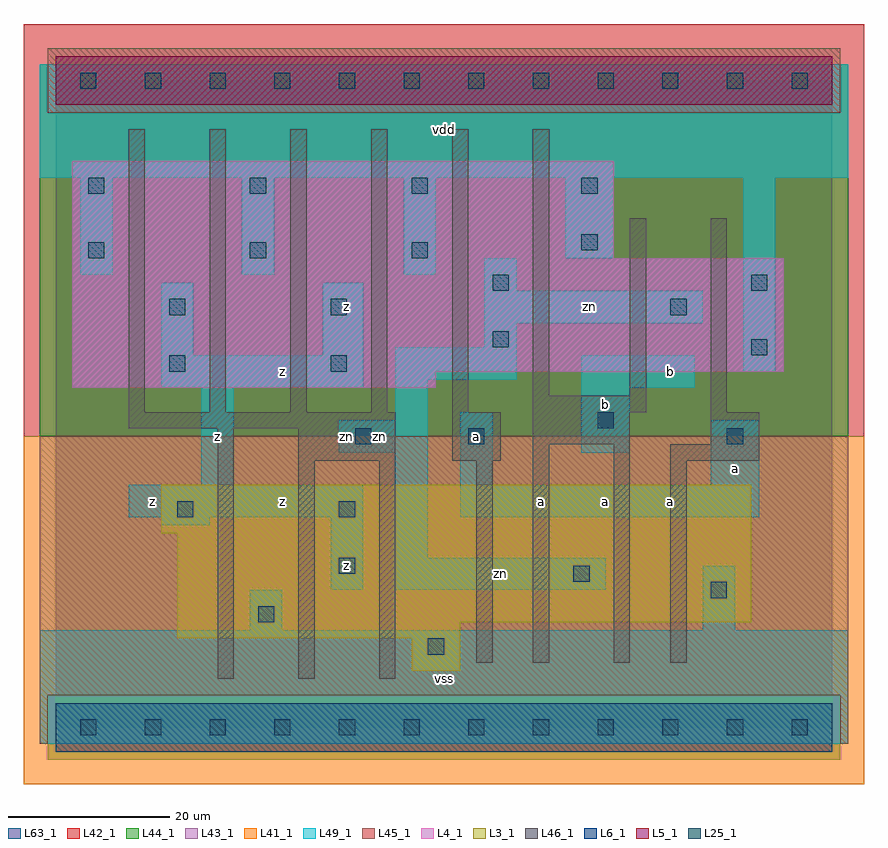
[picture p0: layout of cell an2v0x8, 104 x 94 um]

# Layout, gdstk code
import gdstk
lib = gdstk.Library(unit=1e-6, precision=1e-09)
def R(c, l, rs):  # rectangles x0, y0, x1, y1
    for r in rs: c.add(gdstk.rectangle(r[:2], r[2:], *l))
def A(c, l, x, y, w, h, nx, ny, dx, dy):  # array of equal rectangles
    R(c, l, [(x+i*dx, y+j*dy, x+i*dx+w, y+j*dy+h) for i in range(nx) for j in range(ny)])
L3_1 = (3, 1)
L4_1 = (4, 1)
L5_1 = (5, 1)
L6_1 = (6, 1)
L25_1 = (25, 1)
L41_1 = (41, 1)
L42_1 = (42, 1)
L43_1 = (43, 1)
L44_1 = (44, 1)
L45_1 = (45, 1)
L46_1 = (46, 1)
L49_1 = (49, 1)
L63_1 = (63, 1)

an2v0x8 = lib.new_cell('an2v0x8')
R(an2v0x8, L3_1, [(44,7,50,11), (15,11,50,13), (15,13,86,24), (13,24,86,30)])
R(an2v0x8, L4_1, [(2,42,47,44), (2,44,90,58), (2,58,69,70)])
R(an2v0x8, L5_1, [(0,77,96,83)])
R(an2v0x8, L6_1, [(0,-3,96,3), (0,-3,96,3)])
A(an2v0x8, L25_1, 3, -1, 2, 2, 12, 2, 8, 80)
A(an2v0x8, L25_1, 4, 58, 2, 2, 3, 2, 20, 8)
R(an2v0x8, L25_1, [(46,9,48,11), (25,13,27,15), (81,16,83,18), (64,18,66,20), (35,19,37,21), (15,26,17,28), (35,26,37,28), (37,35,39,37), (51,35,53,37), (83,35,85,37), (67,37,69,39), (14,44,16,46), (34,44,36,46), (86,46,88,48), (54,47,56,49), (14,51,16,53), (34,51,36,53), (76,51,78,53), (54,54,56,56), (86,54,88,56), (65,59,67,61), (65,66,67,68)])
R(an2v0x8, L41_1, [(-4,-7,100,36)])
R(an2v0x8, L42_1, [(-4,36,100,87)])
R(an2v0x8, L43_1, [(0,-3,96,3), (44,7,50,11), (15,11,50,13), (15,13,86,24), (13,24,86,30), (2,42,47,44), (2,44,90,58), (2,58,69,70), (0,77,96,83)])
R(an2v0x8, L44_1, [(-1,-4,97,4), (-2,36,98,76), (-2,76,-1,82), (97,76,98,82)])
R(an2v0x8, L45_1, [(-2,-2,-1,4), (97,-2,98,4), (-2,4,98,36), (-1,76,97,84)])
A(an2v0x8, L46_1, 9, 39, 2, 35, 5, 1, 10, 0)
R(an2v0x8, L46_1, [(20,6,22,37), (30,6,32,33), (40,6,42,33), (52,8,54,33), (59,8,61,35), (69,8,71,35), (76,8,78,33), (30,33,42,37), (49,33,55,39), (76,33,87,35), (59,35,71,39), (81,35,87,39), (9,37,42,39), (59,39,73,41), (81,39,83,63), (59,41,61,74), (71,41,73,63)])
A(an2v0x8, L49_1, 3, 56, 4, 12, 3, 1, 20, 0)
R(an2v0x8, L49_1, [(-2,-2,98,12), (24,12,28,17), (80,12,84,20), (34,17,38,26), (42,17,68,21), (42,21,46,34), (13,25,19,26), (9,26,38,30), (50,26,87,30), (18,30,22,42), (50,30,54,39), (81,30,87,38), (35,34,46,38), (65,34,71,42), (42,38,46,43), (13,42,38,46), (65,42,79,46), (42,43,57,47), (85,44,89,68), (13,46,17,55), (33,46,38,55), (53,47,57,50), (53,50,80,54), (53,54,57,58), (63,58,69,68), (-2,68,98,82)])
R(an2v0x8, L63_1, [(0,0,96,80)])
an2v0x8.add(gdstk.Label('zn', (36,36), layer=46, texttype=1))
an2v0x8.add(gdstk.Label('z', (12,28), layer=49, texttype=1))
an2v0x8.add(gdstk.Label('z', (28,28), layer=49, texttype=1))
an2v0x8.add(gdstk.Label('z', (20,36), layer=49, texttype=1))
an2v0x8.add(gdstk.Label('z', (28,44), layer=49, texttype=1))
an2v0x8.add(gdstk.Label('vss', (48,6), layer=49, texttype=1))
an2v0x8.add(gdstk.Label('z', (36,20), layer=49, texttype=1))
an2v0x8.add(gdstk.Label('zn', (40,36), layer=49, texttype=1))
an2v0x8.add(gdstk.Label('a', (52,36), layer=49, texttype=1))
an2v0x8.add(gdstk.Label('z', (36,52), layer=49, texttype=1))
an2v0x8.add(gdstk.Label('vdd', (48,74), layer=49, texttype=1))
an2v0x8.add(gdstk.Label('a', (60,28), layer=49, texttype=1))
an2v0x8.add(gdstk.Label('zn', (55,19), layer=49, texttype=1))
an2v0x8.add(gdstk.Label('a', (76,28), layer=49, texttype=1))
an2v0x8.add(gdstk.Label('a', (68,28), layer=49, texttype=1))
an2v0x8.add(gdstk.Label('b', (76,44), layer=49, texttype=1))
an2v0x8.add(gdstk.Label('b', (68,40), layer=49, texttype=1))
an2v0x8.add(gdstk.Label('a', (84,32), layer=49, texttype=1))
an2v0x8.add(gdstk.Label('zn', (66,52), layer=49, texttype=1))

lib.write_gds('an2v0x8.gds')
